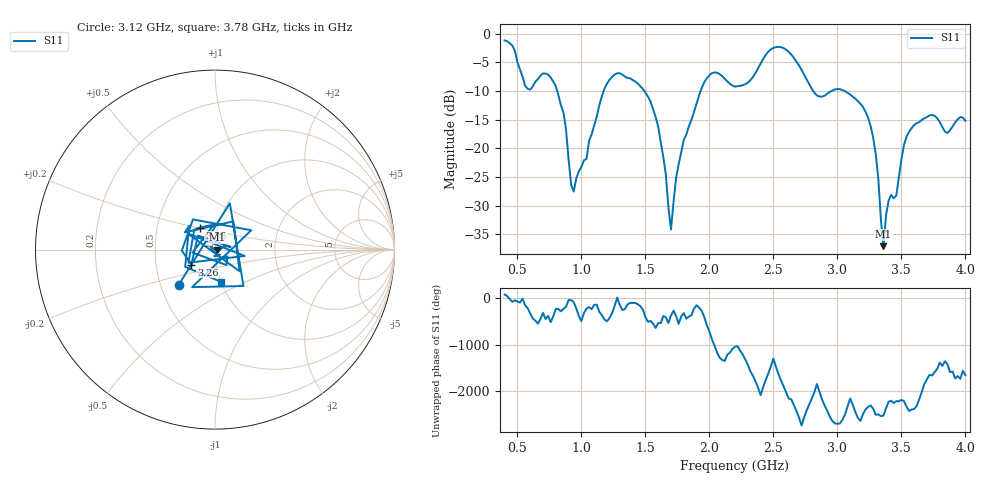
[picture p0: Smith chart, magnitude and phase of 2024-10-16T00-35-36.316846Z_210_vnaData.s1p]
! Created with skrf (http://scikit-rf.org).
# Hz S RI R 50.0
!freq ReS11 ImS11
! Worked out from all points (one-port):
!   181 points, 400 MHz to 4 GHz, reference 50 ohm
!   lowest |S11| = -37.1 dB at 3.36 GHz (marker M1), VSWR 1.03, Z = 51.4 - j0.123 ohm
!   |S11| at or under -10 dB: 811 MHz to 1.174 GHz (363.1 MHz wide, 36.6 % of centre); 1.492 GHz to 1.932 GHz (440 MHz wide, 25.7 % of centre); 3.056 GHz to end of sweep (the widest 3 of 4)
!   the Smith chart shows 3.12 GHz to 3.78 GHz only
!   S11 on the Smith chart (normalised r, x): 3.12 GHz: 0.62, -0.26; 3.26 GHz: 0.76, -0.13; 3.58 GHz: 0.82, +0.21; 3.78 GHz: 1.00, -0.37
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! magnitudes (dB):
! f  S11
! 400 MHz  -1.2
! 560 MHz  -9.1
! 740 MHz  -7.1
! 860 MHz  -13.8
! 940 MHz  -27.6
! 1.18 GHz  -9.6
! 1.3 GHz  -6.9
! 1.56 GHz  -13.2
! 1.64 GHz  -21.6
! 1.7 GHz  -34.2
! 1.76 GHz  -22.8
! 1.98 GHz  -7.8
! 2.2 GHz  -9.2
! 2.5 GHz  -2.5
! 2.66 GHz  -4.2
! 2.84 GHz  -10.8
! 3.1 GHz  -10.6
! 3.12 GHz  -11.0
! 3.26 GHz  -16.1
! 3.3 GHz  -21.1
! 3.36 GHz  -37.1
! 3.4 GHz  -29.1
! 3.46 GHz  -28.3
! 3.56 GHz  -17.1
! 3.58 GHz  -16.5
! 3.78 GHz  -14.8
! 3.86 GHz  -17.3
! 4 GHz  -15.2
